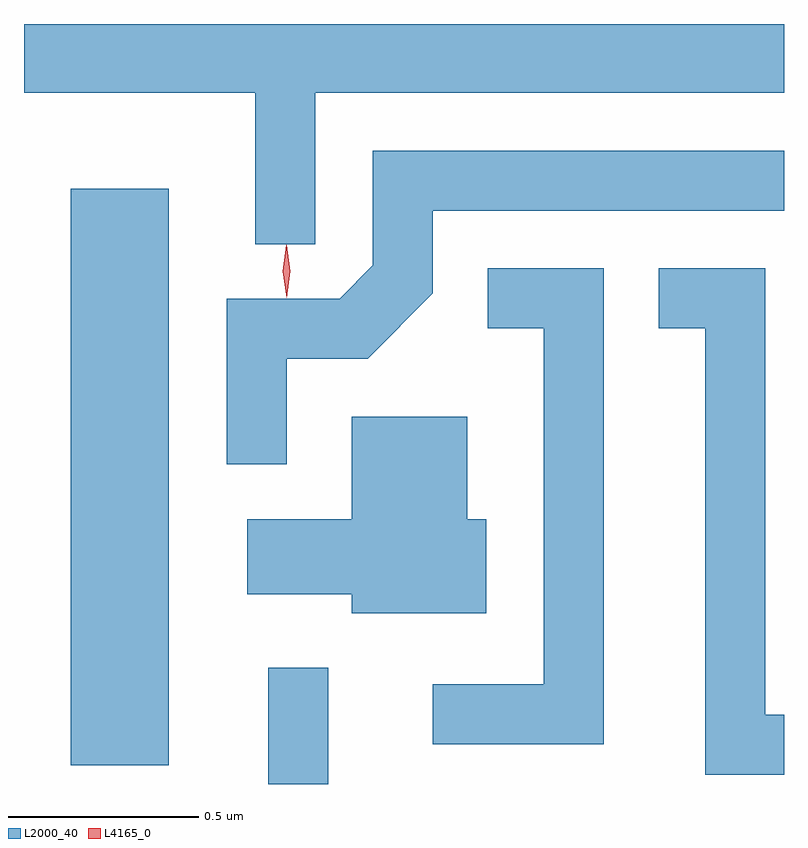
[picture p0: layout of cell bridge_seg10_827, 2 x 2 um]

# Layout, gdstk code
import gdstk
lib = gdstk.Library(unit=1e-6, precision=1e-09)
def R(c, l, rs):  # rectangles x0, y0, x1, y1
    for r in rs: c.add(gdstk.rectangle(r[:2], r[2:], *l))
def P(c, l, *ps):  # polygons
    for p in ps: c.add(gdstk.Polygon(p, *l))
L2000_40 = (2000, 40)
L4165_0 = (4165, 0)

bridge_seg10_827 = lib.new_cell('bridge_seg10_827')
R(bridge_seg10_827, L2000_40, [(504.356,2127.637,504.514,2127.943), (503.836,2127.686,504.094,2129.204)])
P(bridge_seg10_827, L2000_40, [(504.479,2129.456),(505.713,2129.456),(505.713,2129.637),(503.713,2129.637),(503.713,2129.456),(504.321,2129.456),(504.321,2129.058),(504.479,2129.058)],
  [(504.404,2128.756),(504.617,2128.756),(504.789,2128.929),(504.789,2129.146),(505.713,2129.146),(505.713,2129.304),(504.631,2129.304),(504.631,2129.002),(504.544,2128.914),(504.246,2128.914),(504.246,2128.478),(504.404,2128.478)],
  [(505.239,2128.994),(504.933,2128.994),(504.933,2128.836),(505.081,2128.836),(505.081,2127.899),(504.788,2127.899),(504.788,2127.741),(505.239,2127.741)],
  [(505.713,2127.819),(505.664,2127.819),(505.664,2128.994),(505.383,2128.994),(505.383,2128.836),(505.506,2128.836),(505.506,2127.661),(505.713,2127.661)],
  [(504.929,2128.334),(504.879,2128.334),(504.879,2128.604),(504.576,2128.604),(504.576,2128.334),(504.301,2128.334),(504.301,2128.136),(504.576,2128.136),(504.576,2128.086),(504.929,2128.086)])
P(bridge_seg10_827, L4165_0, [(504.404,2128.917),(504.394,2128.986),(504.403,2129.055),(504.403,2129.056),(504.404,2129.055),(504.414,2128.986),(504.405,2128.917),(504.405,2128.917)],
  [(504.405,2128.919),(504.404,2128.92),(504.394,2128.986),(504.403,2129.052),(504.403,2129.052),(504.404,2129.052),(504.414,2128.986),(504.405,2128.92)])

lib.write_gds('bridge_seg10_827.gds')
